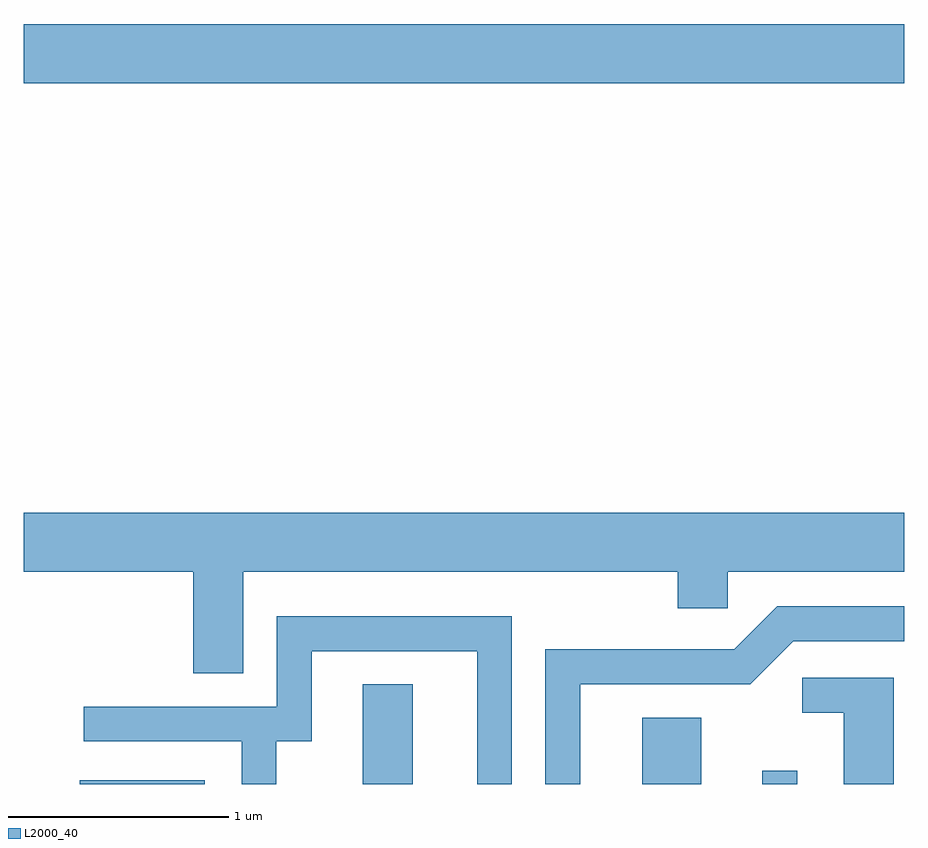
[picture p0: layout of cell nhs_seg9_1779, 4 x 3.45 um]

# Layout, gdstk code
import gdstk
lib = gdstk.Library(unit=1e-6, precision=1e-09)
def R(c, l, rs):  # rectangles x0, y0, x1, y1
    for r in rs: c.add(gdstk.rectangle(r[:2], r[2:], *l))
def P(c, l, *ps):  # polygons
    for p in ps: c.add(gdstk.Polygon(p, *l))
L2000_40 = (2000, 40)

nhs_seg9_1779 = lib.new_cell('nhs_seg9_1779')
R(nhs_seg9_1779, L2000_40, [(237.866,1966.432,238.434,1966.449), (239.151,1966.432,239.379,1966.884), (240.421,1966.432,240.689,1966.734), (240.966,1966.432,241.124,1966.493), (237.611,1969.616,241.611,1969.884)])
P(nhs_seg9_1779, L2000_40, [(238.609,1967.396),(240.581,1967.396),(240.581,1967.231),(240.809,1967.231),(240.809,1967.396),(241.611,1967.396),(241.611,1967.664),(237.611,1967.664),(237.611,1967.396),(238.381,1967.396),(238.381,1966.936),(238.609,1966.936)],
  [(240.139,1966.886),(240.912,1966.886),(241.107,1967.081),(241.611,1967.081),(241.611,1967.239),(241.034,1967.239),(240.839,1967.044),(239.981,1967.044),(239.981,1966.432),(240.139,1966.432)],
  [(238.759,1966.626),(238.919,1966.626),(238.919,1967.036),(239.671,1967.036),(239.671,1966.432),(239.829,1966.432),(239.829,1967.194),(238.761,1967.194),(238.761,1966.784),(237.883,1966.784),(237.883,1966.626),(238.601,1966.626),(238.601,1966.432),(238.759,1966.432)],
  [(241.564,1966.914),(241.148,1966.914),(241.148,1966.756),(241.336,1966.756),(241.336,1966.432),(241.564,1966.432)])

lib.write_gds('nhs_seg9_1779.gds')
